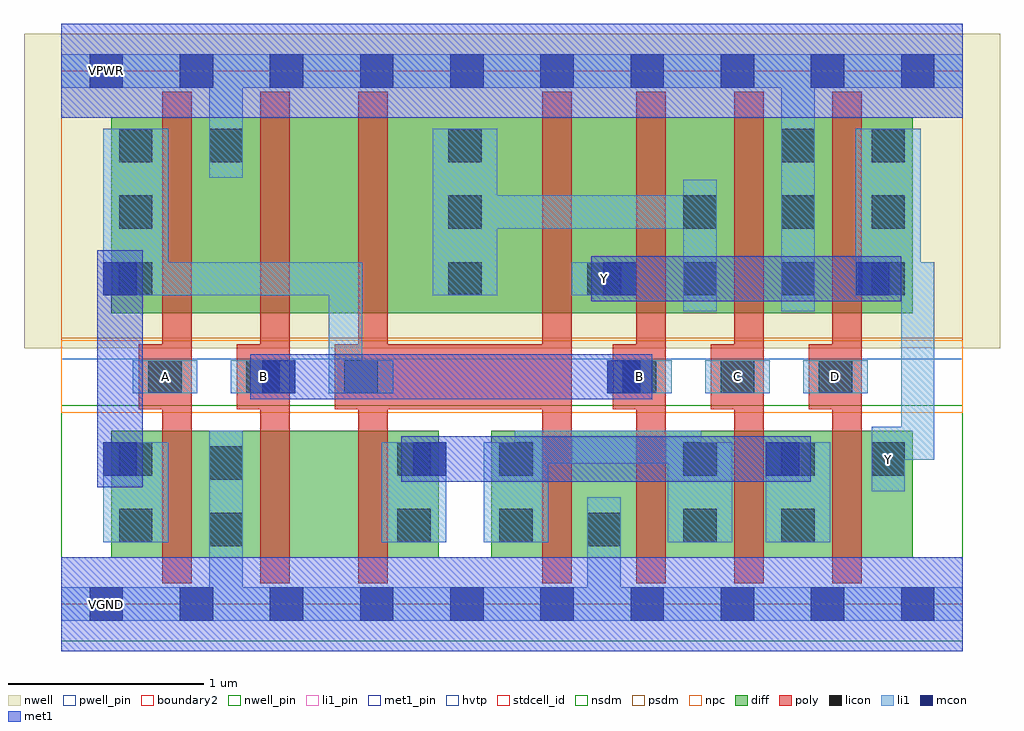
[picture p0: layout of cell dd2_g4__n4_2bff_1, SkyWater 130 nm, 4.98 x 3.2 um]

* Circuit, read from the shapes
.subckt dd2_g4__n4_2bff_1 A B C D VGND VNB VPB VPWR Y
XM1 VGND A n1 VNB sky130_fd_pr__nfet_01v8 w=0.65 l=0.15
XM2 n2 B VGND VNB sky130_fd_pr__nfet_01v8 w=0.65 l=0.15
XM3 n3 n1 n2 VNB sky130_fd_pr__nfet_01v8 w=0.65 l=0.15
XM4 VGND n1 n4 VNB sky130_fd_pr__nfet_01v8 w=0.65 l=0.15
XM5 n4 B VGND VNB sky130_fd_pr__nfet_01v8 w=0.65 l=0.15
XM6 n3 C n4 VNB sky130_fd_pr__nfet_01v8 w=0.65 l=0.15
XM7 Y D n3 VNB sky130_fd_pr__nfet_01v8 w=0.65 l=0.15
XM8 VPWR A n1 VPB sky130_fd_pr__pfet_01v8_hvt w=1 l=0.15
XM9 n5 B VPWR VPB sky130_fd_pr__pfet_01v8_hvt w=1 l=0.15
XM10 n6 n1 n5 VPB sky130_fd_pr__pfet_01v8_hvt w=1 l=0.15
XM11 Y n1 n6 VPB sky130_fd_pr__pfet_01v8_hvt w=1 l=0.15
XM12 n6 B Y VPB sky130_fd_pr__pfet_01v8_hvt w=1 l=0.15
XM13 VPWR C n6 VPB sky130_fd_pr__pfet_01v8_hvt w=1 l=0.15
XM14 Y D VPWR VPB sky130_fd_pr__pfet_01v8_hvt w=1 l=0.15
.ends

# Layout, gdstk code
import gdstk
lib = gdstk.Library(unit=1e-6, precision=1e-09)
def R(c, l, rs):  # rectangles x0, y0, x1, y1
    for r in rs: c.add(gdstk.rectangle(r[:2], r[2:], *l))
def A(c, l, x, y, w, h, nx, ny, dx, dy):  # array of equal rectangles
    R(c, l, [(x+i*dx, y+j*dy, x+i*dx+w, y+j*dy+h) for i in range(nx) for j in range(ny)])
nwell_pin = (64, 16)
nwell = (64, 20)
diff = (65, 20)
poly = (66, 20)
licon = (66, 44)
li1_pin = (67, 16)
li1 = (67, 20)
mcon = (67, 44)
met1_pin = (68, 16)
met1 = (68, 20)
hvtp = (78, 44)
stdcell_id = (81, 4)
nsdm = (93, 44)
psdm = (94, 20)
npc = (95, 20)
pwell_pin = (122, 16)
boundary2 = (236, 0)

dd2_g4__n4_2bff_1 = lib.new_cell('dd2_g4__n4_2bff_1')
R(dd2_g4__n4_2bff_1, nwell_pin, [(0.145,2.635,0.315,2.805)])
R(dd2_g4__n4_2bff_1, nwell, [(-0.19,1.305,4.79,2.91)])
R(dd2_g4__n4_2bff_1, diff, [(0.255,0.235,0.84,0.885), (0.84,0.235,1.34,0.885), (1.34,0.235,1.925,0.885), (2.195,0.235,2.77,0.885), (2.77,0.235,3.26,0.885), (3.26,0.235,3.76,0.885), (3.76,0.235,4.345,0.885), (0.255,1.485,0.84,2.485), (0.84,1.485,1.34,2.485), (1.34,1.485,2.06,2.485), (2.06,1.485,2.77,2.485), (2.77,1.485,3.26,2.485), (3.26,1.485,3.76,2.485), (3.76,1.485,4.345,2.485)])
A(dd2_g4__n4_2bff_1, poly, 0.515, 0.105, 0.15, 2.51, 3, 1, 0.5, 0)
A(dd2_g4__n4_2bff_1, poly, 2.935, 0.105, 0.15, 2.51, 3, 1, 0.5, 0)
A(dd2_g4__n4_2bff_1, poly, 0.395, 0.995, 0.27, 0.33, 3, 1, 0.5, 0)
A(dd2_g4__n4_2bff_1, poly, 2.815, 0.995, 0.27, 0.33, 3, 1, 0.5, 0)
R(dd2_g4__n4_2bff_1, poly, [(2.455,0.105,2.605,2.615), (1.515,0.995,2.605,1.325)])
A(dd2_g4__n4_2bff_1, licon, 0.445, 1.075, 0.17, 0.17, 3, 1, 0.5, 0)
A(dd2_g4__n4_2bff_1, licon, 2.865, 1.075, 0.17, 0.17, 3, 1, 0.5, 0)
A(dd2_g4__n4_2bff_1, licon, 0.295, 1.575, 0.17, 0.17, 1, 3, 0, 0.34)
A(dd2_g4__n4_2bff_1, licon, 1.975, 1.575, 0.17, 0.17, 1, 3, 0, 0.34)
A(dd2_g4__n4_2bff_1, licon, 3.675, 1.575, 0.17, 0.17, 1, 3, 0, 0.34)
A(dd2_g4__n4_2bff_1, licon, 4.135, 1.575, 0.17, 0.17, 1, 3, 0, 0.34)
R(dd2_g4__n4_2bff_1, licon, [(0.755,0.295,0.925,0.465), (2.685,0.295,2.855,0.465), (0.295,0.315,0.465,0.485), (1.715,0.315,1.885,0.485), (2.235,0.315,2.405,0.485), (3.175,0.315,3.345,0.485), (3.675,0.315,3.845,0.485), (0.755,0.635,0.925,0.805), (0.295,0.655,0.465,0.825), (1.715,0.655,1.885,0.825), (2.235,0.655,2.405,0.825), (3.175,0.655,3.345,0.825), (3.675,0.655,3.845,0.825), (4.135,0.655,4.305,0.825), (2.685,1.575,2.855,1.745), (3.175,1.575,3.345,1.745), (3.175,1.915,3.345,2.085), (0.755,2.255,0.925,2.425)])
A(dd2_g4__n4_2bff_1, li1_pin, 2.865, 1.075, 0.17, 0.17, 3, 1, 0.5, 0)
R(dd2_g4__n4_2bff_1, li1_pin, [(4.135,0.655,4.305,0.825), (0.445,1.075,0.615,1.245), (0.945,1.075,1.115,1.245), (2.685,1.575,2.855,1.745)])
A(dd2_g4__n4_2bff_1, li1, 0.365, 1.075, 0.33, 0.17, 3, 1, 0.5, 0)
A(dd2_g4__n4_2bff_1, li1, 2.785, 1.075, 0.33, 0.17, 3, 1, 0.5, 0)
R(dd2_g4__n4_2bff_1, li1, [(0,-0.085,4.6,0.085), (0.755,-0.085,0.925,0.545), (2.685,-0.085,2.855,0.545), (0.755,0.295,0.925,0.885), (0.215,0.315,0.545,0.825), (1.635,0.315,1.965,0.825), (2.155,0.315,2.485,0.825), (3.095,0.315,3.425,0.825), (3.595,0.315,3.925,0.825), (4.135,0.575,4.305,0.905), (0.215,0.655,0.545,0.825), (1.635,0.655,1.965,0.825), (2.155,0.655,2.485,0.825), (2.315,0.655,2.485,0.885), (3.095,0.655,3.425,0.825), (3.095,0.655,3.265,0.885), (3.595,0.655,3.925,0.825), (2.315,0.715,3.265,0.885), (4.135,0.735,4.455,0.905), (4.285,0.735,4.455,1.745), (1.365,1.075,1.535,1.745), (3.175,1.495,3.345,1.825), (3.675,1.495,3.845,2.085), (0.215,1.575,0.545,1.745), (0.215,1.575,0.545,2.085), (0.375,1.575,1.535,1.745), (1.895,1.575,2.225,1.745), (1.895,1.575,2.225,2.085), (2.055,1.575,2.225,2.085), (2.605,1.575,2.935,1.745), (3.175,1.575,3.345,2.165), (4.055,1.575,4.385,1.745), (4.055,1.575,4.385,2.085), (4.215,1.575,4.455,1.745), (3.175,1.655,3.345,2.085), (3.175,1.825,3.345,1.915), (3.175,1.825,3.345,1.915), (3.175,1.825,3.345,1.915), (3.175,1.825,3.345,1.915), (3.675,1.835,3.845,2.425), (0.215,1.915,0.545,2.425), (1.895,1.915,2.225,2.425), (2.055,1.915,3.345,2.085), (4.055,1.915,4.385,2.425), (3.675,2.085,3.845,2.175), (3.675,2.085,3.845,2.175), (3.675,2.085,3.845,2.175), (3.675,2.085,3.845,2.175), (0.755,2.175,0.925,2.805), (3.675,2.175,3.845,2.805), (0,2.635,4.6,2.805)])
A(dd2_g4__n4_2bff_1, mcon, 0.145, -0.085, 0.17, 0.17, 10, 2, 0.46, 2.72)
R(dd2_g4__n4_2bff_1, mcon, [(0.215,0.655,0.385,0.825), (1.795,0.655,1.965,0.825), (3.595,0.655,3.765,0.825), (1.025,1.075,1.195,1.245), (2.785,1.075,2.955,1.245), (0.215,1.575,0.385,1.745), (2.765,1.575,2.935,1.745), (4.055,1.575,4.225,1.745)])
R(dd2_g4__n4_2bff_1, met1_pin, [(0.145,-0.085,0.315,0.085), (0.145,2.635,0.315,2.805)])
R(dd2_g4__n4_2bff_1, met1, [(0,-0.24,4.6,0.24), (0.185,0.595,0.415,0.885), (0.185,0.625,0.415,1.775), (1.735,0.625,2.025,0.855), (1.765,0.625,3.795,0.855), (3.535,0.625,3.825,0.855), (0.965,1.045,1.255,1.275), (0.995,1.045,2.985,1.275), (2.725,1.045,3.015,1.275), (0.185,1.515,0.415,1.805), (2.705,1.545,2.995,1.775), (2.735,1.545,4.255,1.775), (3.995,1.545,4.285,1.775), (0,2.48,4.6,2.96)])
R(dd2_g4__n4_2bff_1, hvtp, [(0,1.25,4.6,2.72)])
R(dd2_g4__n4_2bff_1, stdcell_id, [(0,0,4.6,2.72)])
R(dd2_g4__n4_2bff_1, nsdm, [(0,-0.19,4.6,1.015)])
R(dd2_g4__n4_2bff_1, psdm, [(0,1.355,4.6,2.91)])
R(dd2_g4__n4_2bff_1, npc, [(0,0.975,4.6,1.345)])
R(dd2_g4__n4_2bff_1, pwell_pin, [(0.145,-0.085,0.315,0.085)])
R(dd2_g4__n4_2bff_1, boundary2, [(0,0,4.6,2.72)])
dd2_g4__n4_2bff_1.add(gdstk.Label('A', (0.53,1.16), layer=67, texttype=5))
dd2_g4__n4_2bff_1.add(gdstk.Label('B', (1.03,1.16), layer=67, texttype=5))
dd2_g4__n4_2bff_1.add(gdstk.Label('B', (2.95,1.16), layer=67, texttype=5))
dd2_g4__n4_2bff_1.add(gdstk.Label('C', (3.45,1.16), layer=67, texttype=5))
dd2_g4__n4_2bff_1.add(gdstk.Label('D', (3.95,1.16), layer=67, texttype=5))
dd2_g4__n4_2bff_1.add(gdstk.Label('Y', (4.22,0.74), layer=67, texttype=5))
dd2_g4__n4_2bff_1.add(gdstk.Label('Y', (2.77,1.66), layer=67, texttype=5))
dd2_g4__n4_2bff_1.add(gdstk.Label('VGND', (0.23,0), layer=68, texttype=5))
dd2_g4__n4_2bff_1.add(gdstk.Label('VPWR', (0.23,2.72), layer=68, texttype=5))
dd2_g4__n4_2bff_1.add(gdstk.Label('VPB', (0.23,2.72), layer=64, texttype=5))
dd2_g4__n4_2bff_1.add(gdstk.Label('VNB', (0.23,0), layer=64, texttype=59))

lib.write_gds('dd2_g4__n4_2bff_1.gds')
